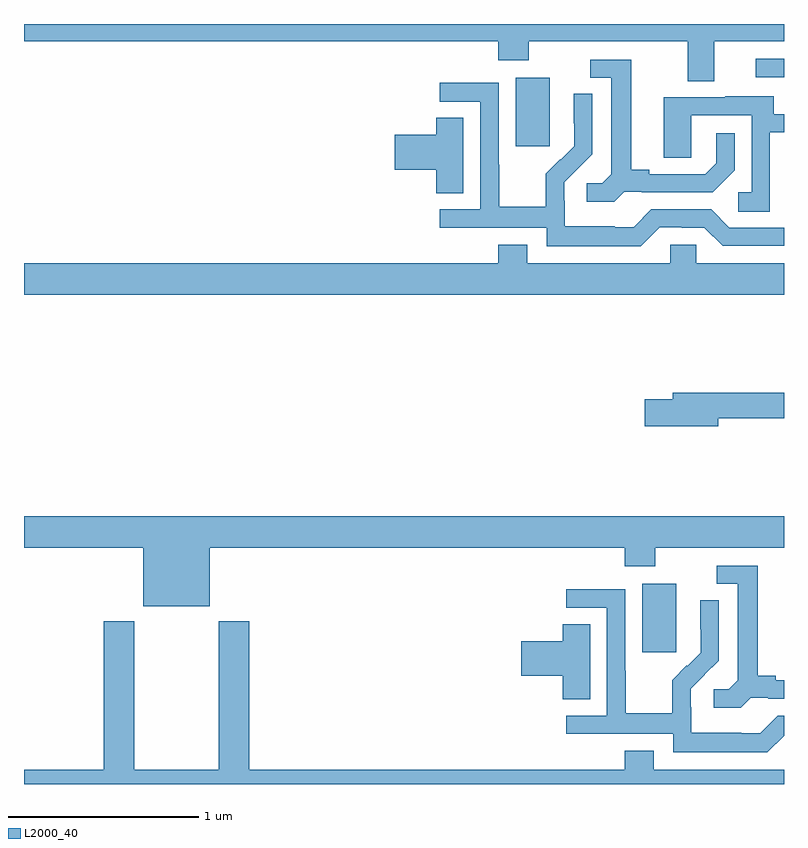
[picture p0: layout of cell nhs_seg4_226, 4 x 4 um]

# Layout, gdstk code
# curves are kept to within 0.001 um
import gdstk
lib = gdstk.Library(unit=1e-6, precision=1e-09)
def R(c, l, rs):  # rectangles x0, y0, x1, y1
    for r in rs: c.add(gdstk.rectangle(r[:2], r[2:], *l))
def P(c, l, *ps):  # polygons
    for p in ps: c.add(gdstk.Polygon(p, *l))
L2000_40 = (2000, 40)

nhs_seg4_226 = lib.new_cell('nhs_seg4_226')
R(nhs_seg4_226, L2000_40, [(124.253,805.593,124.432,805.954), (123.587,808.257,123.766,808.618), (124.851,808.62,125,808.716)])
P(nhs_seg4_226, L2000_40, [(124.633,808.808),(125,808.808),(125,808.9),(121,808.9),(121,808.808),(123.497,808.808),(123.497,808.709),(123.657,808.709),(123.657,808.808),(124.493,808.808),(124.493,808.6),(124.633,808.6)],
  [(124.158,808.017),(124.252,808.017),(124.252,808.014),(124.624,808.014),(124.74,808.13),(124.74,808.324),(124.643,808.324),(124.643,808.167),(124.586,808.11),(124.291,808.11),(124.291,808.133),(124.195,808.133),(124.195,808.713),(123.981,808.713),(123.981,808.617),(124.091,808.617),(124.091,808.109),(124.044,808.062),(123.963,808.062),(123.963,807.965),(124.106,807.965)],
  [(124.347,807.831),(124.463,807.831),(124.463,807.828),(124.581,807.828),(124.677,807.732),(125,807.732),(125,807.828),(124.713,807.828),(124.617,807.924),(124.302,807.924),(124.209,807.831),(124.109,807.831),(124.109,807.835),(123.846,807.835),(123.846,807.969),(123.844,807.969),(123.844,808.066),(123.99,808.214),(123.99,808.532),(123.894,808.532),(123.894,808.378),(123.896,808.378),(123.896,808.256),(123.825,808.185),(123.822,808.188),(123.745,808.111),(123.745,807.937),(123.501,807.937),(123.501,808.16),(123.498,808.16),(123.498,808.59),(123.189,808.59),(123.189,808.491),(123.402,808.491),(123.402,807.924),(123.189,807.924),(123.189,807.828),(123.75,807.828),(123.75,807.731),(124.247,807.731)],
  [(124.926,808.329),(125,808.329),(125,808.425),(124.945,808.425),(124.945,808.519),(124.691,808.519),(124.691,808.515),(124.367,808.515),(124.367,808.195),(124.512,808.195),(124.512,808.419),(124.83,808.419),(124.83,808.014),(124.758,808.014),(124.758,807.913),(124.926,807.913)],
  [(123.313,808.406),(123.17,808.406),(123.17,808.316),(122.952,808.316),(122.952,808.133),(123.17,808.133),(123.17,808.009),(123.313,808.009)],
  [(125,807.64),(124.539,807.64),(124.539,807.738),(124.401,807.738),(124.401,807.64),(123.649,807.64),(123.649,807.739),(123.497,807.739),(123.497,807.64),(121,807.64),(121,807.476),(125,807.476)],
  [(124.654,806.824),(125,806.824),(125,806.96),(124.415,806.96),(124.415,806.924),(124.266,806.924),(124.266,806.782),(124.654,806.782)],
  [(121.978,806.144),(124.163,806.144),(124.163,806.045),(124.323,806.045),(124.323,806.144),(125,806.144),(125,806.308),(121,806.308),(121,806.144),(121.628,806.144),(121.628,805.835),(121.978,805.835)],
  [(124.824,805.353),(124.918,805.353),(124.918,805.35),(125,805.35),(125,805.446),(124.957,805.446),(124.957,805.469),(124.861,805.469),(124.861,806.049),(124.647,806.049),(124.647,805.953),(124.757,805.953),(124.757,805.445),(124.71,805.398),(124.629,805.398),(124.629,805.301),(124.772,805.301)],
  [(125,805.154),(125,805.26),(124.968,805.26),(124.875,805.167),(124.775,805.167),(124.775,805.171),(124.512,805.171),(124.512,805.305),(124.51,805.305),(124.51,805.402),(124.656,805.55),(124.656,805.868),(124.56,805.868),(124.56,805.714),(124.562,805.714),(124.562,805.592),(124.491,805.521),(124.488,805.524),(124.411,805.447),(124.411,805.273),(124.167,805.273),(124.167,805.496),(124.164,805.496),(124.164,805.926),(123.855,805.926),(123.855,805.827),(124.068,805.827),(124.068,805.26),(123.855,805.26),(123.855,805.164),(124.416,805.164),(124.416,805.067),(124.913,805.067)],
  [(125,804.976),(124.315,804.976),(124.315,805.075),(124.163,805.075),(124.163,804.976),(122.186,804.976),(122.186,805.756),(122.026,805.756),(122.026,804.976),(121.581,804.976),(121.581,805.756),(121.421,805.756),(121.421,804.976),(121,804.976),(121,804.9),(125,804.9)],
  [(123.979,805.742),(123.836,805.742),(123.836,805.652),(123.618,805.652),(123.618,805.469),(123.836,805.469),(123.836,805.345),(123.979,805.345)])

lib.write_gds('nhs_seg4_226.gds')
